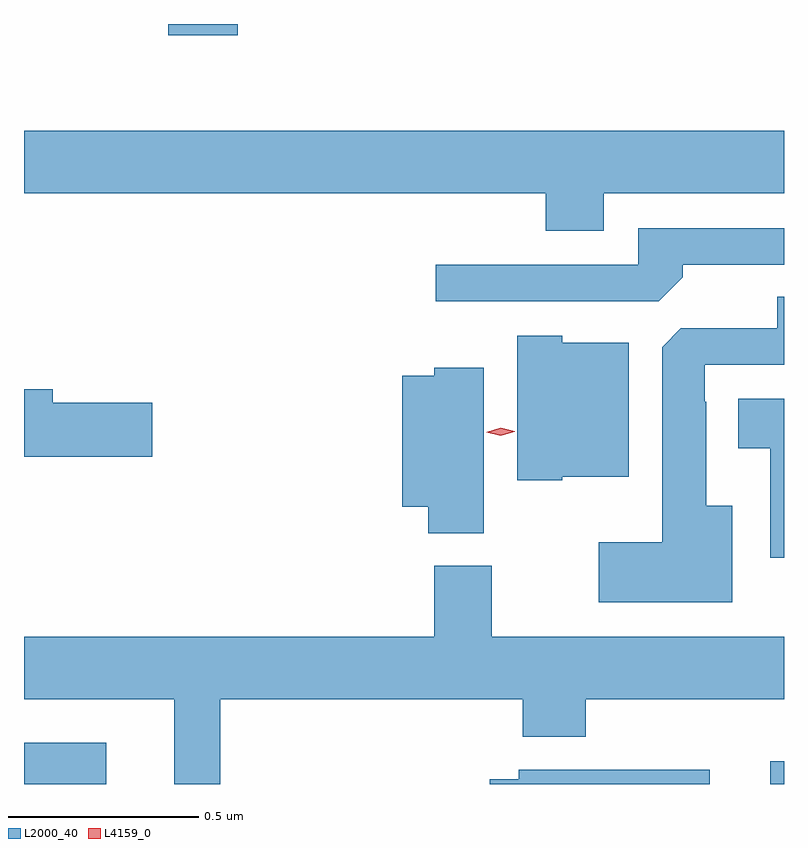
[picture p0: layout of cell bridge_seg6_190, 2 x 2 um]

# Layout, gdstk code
import gdstk
lib = gdstk.Library(unit=1e-6, precision=1e-09)
def R(c, l, rs):  # rectangles x0, y0, x1, y1
    for r in rs: c.add(gdstk.rectangle(r[:2], r[2:], *l))
def P(c, l, *ps):  # polygons
    for p in ps: c.add(gdstk.Polygon(p, *l))
L2000_40 = (2000, 40)
L4159_0 = (4159, 0)

bridge_seg6_190 = lib.new_cell('bridge_seg6_190')
R(bridge_seg6_190, L2000_40, [(337.446,929.797,337.663,929.905), (339.41,929.797,339.446,929.857), (337.826,931.767,338.009,931.797)])
P(bridge_seg6_190, L2000_40, [(338.971,931.352),(339.446,931.352),(339.446,931.516),(337.446,931.516),(337.446,931.352),(338.819,931.352),(338.819,931.253),(338.971,931.253)],
  [(339.179,931.13),(339.179,931.164),(339.446,931.164),(339.446,931.26),(339.063,931.26),(339.063,931.164),(338.529,931.164),(338.529,931.068),(339.117,931.068)],
  [(339.31,930.529),(339.241,930.529),(339.241,930.803),(339.237,930.803),(339.237,930.9),(339.446,930.9),(339.446,931.079),(339.428,931.079),(339.428,930.996),(339.174,930.996),(339.125,930.947),(339.125,930.433),(338.958,930.433),(338.958,930.275),(339.31,930.275)],
  [(338.862,930.605),(339.037,930.605),(339.037,930.958),(338.862,930.958),(338.862,930.976),(338.744,930.976),(338.744,930.596),(338.862,930.596)],
  [(338.656,930.892),(338.526,930.892),(338.526,930.871),(338.441,930.871),(338.441,930.527),(338.51,930.527),(338.51,930.457),(338.656,930.457)],
  [(337.783,930.8),(337.522,930.8),(337.522,930.836),(337.446,930.836),(337.446,930.658),(337.783,930.658)],
  [(339.446,930.811),(339.326,930.811),(339.326,930.68),(339.41,930.68),(339.41,930.393),(339.446,930.393)],
  [(337.963,930.02),(338.759,930.02),(338.759,929.921),(338.924,929.921),(338.924,930.02),(339.446,930.02),(339.446,930.184),(338.677,930.184),(338.677,930.372),(338.525,930.372),(338.525,930.184),(337.446,930.184),(337.446,930.02),(337.841,930.02),(337.841,929.797),(337.963,929.797)],
  [(339.25,929.834),(338.748,929.834),(338.748,929.809),(338.672,929.809),(338.672,929.797),(339.25,929.797)])
P(bridge_seg6_190, L4159_0, [(338.7,930.714),(338.663,930.723),(338.663,930.723),(338.663,930.723),(338.7,930.734),(338.737,930.725),(338.737,930.724),(338.737,930.724)])

lib.write_gds('bridge_seg6_190.gds')
